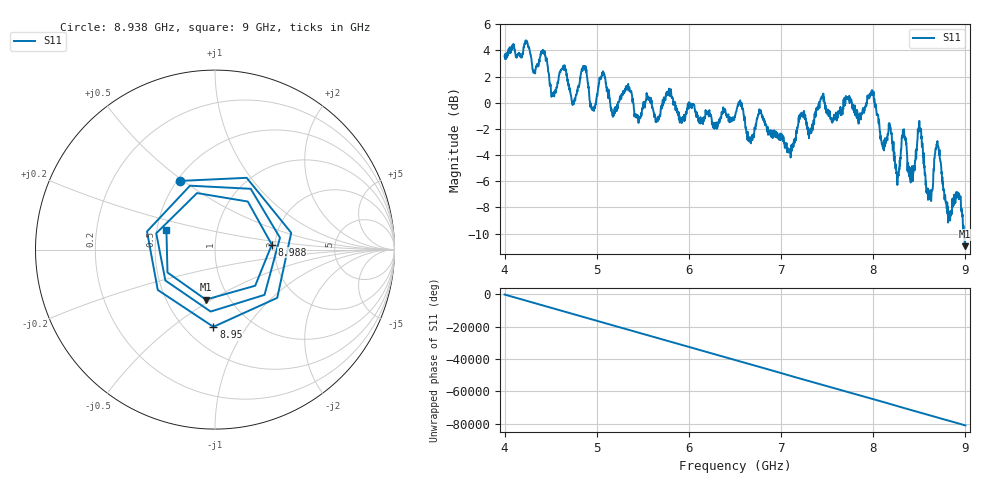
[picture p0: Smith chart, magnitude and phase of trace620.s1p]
! Created with skrf 1.8.0 (http://scikit-rf.org).
# Hz S RI R 50.0
!freq ReS11 ImS11
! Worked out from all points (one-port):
!   1601 points, 4 GHz to 9 GHz, reference 50 ohm
!   lowest |S11| = -11.0 dB at 8.994 GHz (marker M1), VSWR 1.79, Z = 38.9 - j23.6 ohm
!   |S11| at or under -10 dB: 8.98826 GHz to end of sweep
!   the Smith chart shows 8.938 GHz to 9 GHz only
!   S11 on the Smith chart (normalised r, x): 8.938 GHz: 0.52, +0.49; 8.95 GHz: 0.68, -0.72; 8.988 GHz: 1.92, +0.12; 9 GHz: 0.56, +0.13
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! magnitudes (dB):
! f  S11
! 4 GHz  3.5
! 4.419 GHz  3.8
! 4.528 GHz  0.7
! 4.625 GHz  2.6
! 4.744 GHz  0.1
! 4.862 GHz  2.8
! 4.953 GHz  -0.4
! 5.059 GHz  2.3
! 5.25 GHz  0.3
! 5.875 GHz  -0.8
! 6.5 GHz  -1.1
! 7.125 GHz  -3.3
! 7.444 GHz  0.3
! 7.75 GHz  0.2
! 7.988 GHz  1.0
! 8.259 GHz  -5.6
! 8.331 GHz  -2.3
! 8.375 GHz  -4.6
! 8.425 GHz  -5.4
! 8.506 GHz  -1.9
! 8.603 GHz  -7.3
! 8.694 GHz  -3.0
! 8.809 GHz  -7.9
! 8.938 GHz  -7.3
! 8.95 GHz  -7.3
! 8.988 GHz  -10.0
! 8.994 GHz  -11.0
! 9 GHz  -10.7
